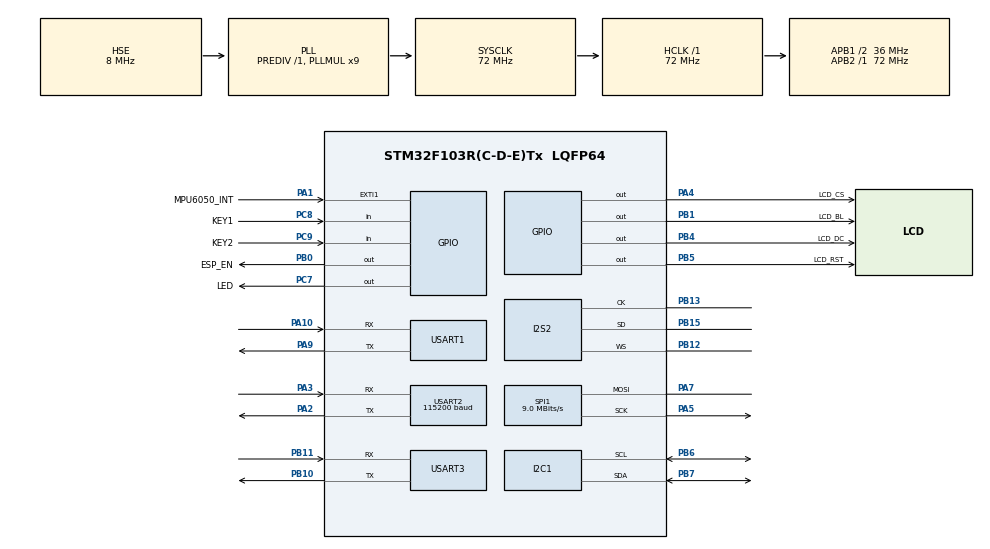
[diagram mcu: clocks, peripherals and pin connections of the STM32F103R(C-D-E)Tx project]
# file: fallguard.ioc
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Dma.Request0=SPI2_TX
Dma.Request1=SPI1_TX
Dma.SPI1_TX.1.Direction=DMA_MEMORY_TO_PERIPH
Dma.SPI1_TX.1.Instance=DMA1_Channel3
Dma.SPI1_TX.1.MemDataAlignment=DMA_MDATAALIGN_BYTE
Dma.SPI1_TX.1.MemInc=DMA_MINC_ENABLE
Dma.SPI1_TX.1.Mode=DMA_NORMAL
Dma.SPI1_TX.1.PeriphDataAlignment=DMA_PDATAALIGN_BYTE
Dma.SPI1_TX.1.PeriphInc=DMA_PINC_DISABLE
Dma.SPI1_TX.1.Priority=DMA_PRIORITY_HIGH
Dma.SPI2_TX.0.Direction=DMA_MEMORY_TO_PERIPH
Dma.SPI2_TX.0.Instance=DMA1_Channel5
Dma.SPI2_TX.0.MemDataAlignment=DMA_MDATAALIGN_HALFWORD
Dma.SPI2_TX.0.MemInc=DMA_MINC_ENABLE
Dma.SPI2_TX.0.Mode=DMA_CIRCULAR
Dma.SPI2_TX.0.PeriphDataAlignment=DMA_PDATAALIGN_HALFWORD
Dma.SPI2_TX.0.PeriphInc=DMA_PINC_DISABLE
Dma.SPI2_TX.0.Priority=DMA_PRIORITY_VERY_HIGH
I2C1.I2C_Mode=I2C_Fast
I2S2.AudioFreq=I2S_AUDIOFREQ_16K
I2S2.ErrorAudioFreq=-0.26 %
I2S2.Instance=SPI$Index
I2S2.RealAudioFreq=15.957 KHz
I2S2.VirtualMode=I2S_MODE_MASTER
Mcu.Family=STM32F1
Mcu.Name=STM32F103R(C-D-E)Tx
Mcu.Package=LQFP64
NVIC.DMA1_Channel3_IRQn=true\:2\:0\:true\:false\:true\:false\:true\:true
NVIC.DMA1_Channel5_IRQn=true\:1\:0\:true\:false\:true\:false\:true\:true
NVIC.EXTI1_IRQn=true\:3\:0\:true\:false\:true\:true\:true\:true
NVIC.I2C1_ER_IRQn=true\:0\:0\:false\:false\:true\:true\:true\:true
NVIC.I2C1_EV_IRQn=true\:0\:0\:false\:false\:true\:true\:true\:true
NVIC.PriorityGroup=NVIC_PRIORITYGROUP_4
NVIC.SPI1_IRQn=true\:2\:0\:true\:false\:true\:true\:true\:true
NVIC.USART1_IRQn=true\:6\:0\:true\:false\:true\:true\:true\:true
NVIC.USART2_IRQn=true\:1\:0\:true\:false\:true\:true\:true\:true
NVIC.USART3_IRQn=true\:1\:0\:true\:false\:true\:true\:true\:true
PA1.GPIO_Label=MPU6050_INT
PA1.GPIO_ModeDefaultEXTI=GPIO_MODE_IT_RISING
PA1.GPIO_PuPd=GPIO_PULLDOWN
PA1.Signal=GPXTI1
PA10.Mode=Asynchronous
PA10.Signal=USART1_RX
PA13.Mode=Serial_Wire
PA13.Signal=SYS_JTMS-SWDIO
PA14.Mode=Serial_Wire
PA14.Signal=SYS_JTCK-SWCLK
PA2.Mode=Asynchronous
PA2.Signal=USART2_TX
PA3.Mode=Asynchronous
PA3.Signal=USART2_RX
PA4.GPIO_Label=LCD_CS
PA4.GPIO_Speed=GPIO_SPEED_FREQ_HIGH
PA4.PinState=GPIO_PIN_SET
PA4.Signal=GPIO_Output
PA5.Mode=Simplex_Bidirectional_Master
PA5.Signal=SPI1_SCK
PA7.Mode=Simplex_Bidirectional_Master
PA7.Signal=SPI1_MOSI
PA9.Mode=Asynchronous
PA9.Signal=USART1_TX
PB0.GPIO_Label=ESP_EN
PB0.GPIO_Speed=GPIO_SPEED_FREQ_LOW
PB0.PinState=GPIO_PIN_SET
PB0.Signal=GPIO_Output
PB1.GPIO_Label=LCD_BL
PB1.GPIO_Speed=GPIO_SPEED_FREQ_HIGH
PB1.Signal=GPIO_Output
PB10.Mode=Asynchronous
PB10.Signal=USART3_TX
PB11.Mode=Asynchronous
PB11.Signal=USART3_RX
PB12.Mode=Half_Duplex_Master_TX
PB12.Signal=I2S2_WS
PB13.Mode=Half_Duplex_Master_TX
PB13.Signal=I2S2_CK
PB15.Mode=Half_Duplex_Master_TX
PB15.Signal=I2S2_SD
PB4.GPIO_Label=LCD_DC
PB4.GPIO_Speed=GPIO_SPEED_FREQ_HIGH
PB4.PinState=GPIO_PIN_SET
PB4.Signal=GPIO_Output
PB5.GPIO_Label=LCD_RST
PB5.GPIO_Speed=GPIO_SPEED_FREQ_HIGH
PB5.PinState=GPIO_PIN_SET
PB5.Signal=GPIO_Output
PB6.Mode=I2C
PB6.Signal=I2C1_SCL
PB7.Mode=I2C
PB7.Signal=I2C1_SDA
PC14-OSC32_IN.Mode=LSE-External-Oscillator
PC14-OSC32_IN.Signal=RCC_OSC32_IN
PC15-OSC32_OUT.Mode=LSE-External-Oscillator
PC15-OSC32_OUT.Signal=RCC_OSC32_OUT
PC7.GPIO_Label=LED
PC7.PinState=GPIO_PIN_SET
PC7.Signal=GPIO_Output
PC8.GPIO_Label=KEY1
PC8.GPIO_PuPd=GPIO_PULLUP
PC8.Signal=GPIO_Input
PC9.GPIO_Label=KEY2
PC9.GPIO_PuPd=GPIO_PULLUP
PC9.Signal=GPIO_Input
PD0-OSC_IN.Mode=HSE-External-Oscillator
PD0-OSC_IN.Signal=RCC_OSC_IN
PD1-OSC_OUT.Mode=HSE-External-Oscillator
PD1-OSC_OUT.Signal=RCC_OSC_OUT
ProjectManager.HeapSize=0x200
ProjectManager.StackSize=0x400
ProjectManager.TargetToolchain=CMake
RCC.AHBFreq_Value=72000000
RCC.APB1CLKDivider=RCC_HCLK_DIV2
RCC.APB1Freq_Value=36000000
RCC.APB1TimFreq_Value=72000000
RCC.APB2Freq_Value=72000000
RCC.APB2TimFreq_Value=72000000
RCC.HCLKFreq_Value=72000000
RCC.PLLMUL=RCC_PLL_MUL9
RCC.PLLSourceVirtual=RCC_PLLSOURCE_HSE
RCC.RTCClockSelection=RCC_RTCCLKSOURCE_LSE
RCC.SYSCLKFreq_VALUE=72000000
RCC.SYSCLKSource=RCC_SYSCLKSOURCE_PLLCLK
RCC.USBFreq_Value=72000000
SPI1.BaudRatePrescaler=SPI_BAUDRATEPRESCALER_8
SPI1.CLKPolarity=SPI_POLARITY_LOW
SPI1.CalculateBaudRate=9.0 MBits/s
SPI1.Direction=SPI_DIRECTION_1LINE
SPI1.Mode=SPI_MODE_MASTER
SPI1.VirtualType=VM_MASTER
TIM2.AutoReloadPreload=TIM_AUTORELOAD_PRELOAD_ENABLE
TIM2.Prescaler=71
USART1.VirtualMode=VM_ASYNC
USART2.BaudRate=115200
USART2.VirtualMode=VM_ASYNC
USART3.VirtualMode=VM_ASYNC
VP_RTC_No_RTC_Output.Mode=RTC_OUT_NO
VP_RTC_VS_RTC_Activate.Mode=RTC_Enabled
VP_RTC_VS_RTC_Calendar.Mode=RTC_Calendar
VP_TIM2_VS_ClockSourceINT.Mode=Internal
board=custom

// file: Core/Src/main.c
/* USER CODE BEGIN Header */
/**
 ******************************************************************************
 * @file           : main.c
 * @brief          : Main program body
 ******************************************************************************
 * @attention
 *
 * Copyright (c) 2026 STMicroelectronics.
 * All rights reserved.
 *
 * This software is licensed under terms that can be found in the LICENSE file
 * in the root directory of this software component.
 * If no LICENSE file comes with this software, it is provided AS-IS.
 *
 ******************************************************************************
 */
/* USER CODE END Header */
#include "main.h"
#include "dma.h"
#include "i2c.h"
#include "i2s.h"
#include "rtc.h"
#include "spi.h"
#include "tim.h"
#include "usart.h"
#include "gpio.h"

/* USER CODE BEGIN Includes */
#include "app_main.h"
#include "app_ui.h"
#include "bsp_esp.h"
#include "bsp_gps.h"
#include "bsp_log.h"
#include "bsp_mpu6050.h"
#include "bsp_rtc.h"
#include <errno.h>
#include <stdio.h>

/* USER CODE END Includes */

/* USER CODE BEGIN PV */
static uint8_t gps_rx_byte;
static volatile uint8_t gps_rx_retry;
static uint32_t gps_rx_retry_tick;
static uint8_t esp_rx_byte;
static volatile uint8_t esp_rx_retry;
static uint32_t esp_rx_retry_tick;

/* USER CODE END PV */

void SystemClock_Config(void);

/* USER CODE BEGIN 0 */
/* Keep the generated main clock tree, but reserve the optional LSE/RTC for the
 * recoverable RTC initializer. These adapters survive CubeMX regeneration. */
static HAL_StatusTypeDef boot_osc_config(RCC_OscInitTypeDef *oscillator) {
  oscillator->OscillatorType &= ~RCC_OSCILLATORTYPE_LSE;
  return HAL_RCC_OscConfig(oscillator);
}

static HAL_StatusTypeDef boot_periph_clock_config(RCC_PeriphCLKInitTypeDef *clock) {
  clock->PeriphClockSelection &= ~RCC_PERIPHCLK_RTC;
  return clock->PeriphClockSelection ? HAL_RCCEx_PeriphCLKConfig(clock) : HAL_OK;
}

#define HAL_RCC_OscConfig boot_osc_config
#define HAL_RCCEx_PeriphCLKConfig boot_periph_clock_config

/* Only used before application startup. IRQs remain enabled and log TX is serviced.
 * Bound the wait so a failed display never prevents the application from booting. */
static void boot_log_step(const char *message, app_ui_boot_level_t level) {
  uint32_t start = HAL_GetTick();
  app_ui_boot_log(message, level);
  do {
    app_ui_poll();
    BSP_LOG_Poll();
  } while ((uint32_t)(HAL_GetTick() - start) < APP_BOOT_DISPLAY_TIMEOUT_MS &&
           ((uint32_t)(HAL_GetTick() - start) < APP_BOOT_LOG_STEP_MS ||
            app_ui_frame_pending()));
}

static void gps_receive_start(void) {
  HAL_StatusTypeDef status = HAL_UART_Receive_IT(&huart2, &gps_rx_byte, 1U);

  gps_rx_retry =
      (status != HAL_OK) && (huart2.RxState != HAL_UART_STATE_BUSY_RX);
  if (gps_rx_retry != 0U)
    BSP_GPS_RxError(HAL_UART_GetError(&huart2) | 0x80000000UL);
}

static void esp_receive_start(void) {
  HAL_StatusTypeDef status = HAL_UART_Receive_IT(&huart3, &esp_rx_byte, 1U);

  esp_rx_retry =
      (status != HAL_OK) && (huart3.RxState != HAL_UART_STATE_BUSY_RX);
  if (esp_rx_retry != 0U)
    BSP_ESP_RxError(HAL_UART_GetError(&huart3) | 0x80000000UL);
}
/* USER CODE END 0 */

int main(void)
{

  /* MCU Configuration--------------------------------------------------------*/

  /* Reset of all peripherals, Initializes the Flash interface and the Systick. */
  HAL_Init();

  /* Configure the system clock */
  SystemClock_Config();

  /* USER CODE BEGIN SysInit */
  /* Order startup below so the boot log is visible before optional RTC startup.
   * Skip CubeMX's automatic call list without changing its generated functions. */
  goto boot_peripherals;
  /* USER CODE END SysInit */

  /* Initialize all configured peripherals */
  MX_GPIO_Init();
  MX_DMA_Init();
  MX_I2C1_Init();
  MX_RTC_Init();
  MX_TIM2_Init();
  MX_USART1_UART_Init();
  MX_USART2_UART_Init();
  MX_USART3_UART_Init();
  MX_I2S2_Init();
  MX_SPI1_Init();
  /* USER CODE BEGIN 2 */
boot_peripherals:
  MX_GPIO_Init();
  MX_DMA_Init();
  MX_SPI1_Init();
  MX_USART1_UART_Init();
  BSP_LOG_Init();
  setvbuf(stdout, NULL, _IONBF, 0);
  app_ui_init();
  boot_log_step("主时钟已就绪", APP_UI_BOOT_OK);
  boot_log_step("显示接口已就绪", APP_UI_BOOT_OK);
  boot_log_step("RTC 时钟启动中", APP_UI_BOOT_WAIT);
  MX_RTC_Init();
  boot_log_step(BSP_RTC_IsHardwareReady() ? "RTC 时钟已就绪" : "RTC 故障 继续启动",
                BSP_RTC_IsHardwareReady() ? APP_UI_BOOT_OK : APP_UI_BOOT_WARN);
  MX_I2C1_Init();
  boot_log_step("姿态总线已就绪", APP_UI_BOOT_OK);
  MX_TIM2_Init();
  boot_log_step("计时接口已就绪", APP_UI_BOOT_OK);
  MX_USART2_UART_Init();
  boot_log_step("定位串口已就绪", APP_UI_BOOT_OK);
  MX_USART3_UART_Init();
  boot_log_step("网络串口已就绪", APP_UI_BOOT_OK);
  MX_I2S2_Init();
  boot_log_step("音频接口已就绪", APP_UI_BOOT_OK);

  LOG_INFO(DEBUG_LOG_BOOT_ENABLE, LOG_TAG_BOOT, "fallguard\r\n");
  LOG_INFO(DEBUG_LOG_BOOT_ENABLE, LOG_TAG_BOOT,
           "HCLK=%lu Hz LSE_READY=%lu\r\n",
           (unsigned long)HAL_RCC_GetHCLKFreq(),
           (unsigned long)(__HAL_RCC_GET_FLAG(RCC_FLAG_LSERDY) != RESET));
  if (!BSP_RTC_IsHardwareReady())
    LOG_WARN(DEBUG_LOG_RTC_ENABLE, LOG_TAG_RTC,
             "LSE/RTC unavailable; time invalid, local functions continue\r\n");

  if (HAL_TIM_Base_Start(&htim2) != HAL_OK) {
    LOG_ERROR(DEBUG_LOG_TIM_ENABLE, LOG_TAG_TIM, "TIM2 start failed\r\n");
    Error_Handler();
  }

  LOG_INFO(DEBUG_LOG_BOOT_ENABLE, LOG_TAG_BOOT,
           "MPU PB6=SCL PB7=SDA PA1=INT @0x%02X; calibration=%u samples, "
           "keep STILL\r\n",
           (unsigned int)MPU6050_I2C_ADDRESS,
           (unsigned int)BSP_MPU6050_CALIBRATION_SAMPLES);
  app_init();
  gps_receive_start();
  gps_rx_retry_tick = HAL_GetTick();
  esp_receive_start();
  esp_rx_retry_tick = HAL_GetTick();
  app_ui_boot_hardware_done();
  LOG_INFO(DEBUG_LOG_BOOT_ENABLE, LOG_TAG_BOOT,
           "GPS TX->PA3, USART2 115200 8N1, stale=%lu ms\r\n",
           (unsigned long)GPS_STALE_MS);

  LOG_INFO(DEBUG_LOG_BOOT_ENABLE, LOG_TAG_BOOT,
           "TIM2 started; MQTT/RTC pages show network and time\r\n");
  LOG_INFO(DEBUG_LOG_BOOT_ENABLE, LOG_TAG_BOOT,
           "LCD ST7789 240x240 SPI1 9MHz PA5=SCK PA7=MOSI; init pending\r\n");
  LOG_INFO(DEBUG_LOG_BOOT_ENABLE, LOG_TAG_BOOT,
           "KEY K1=LCD page; K2=test alarm; debounce=%lu ms\r\n",
           (unsigned long)KEY_DEBOUNCE_MS);
  /* USER CODE END 2 */

  /* Infinite loop */
  while (1) {

    /* USER CODE BEGIN 3 */
    if ((gps_rx_retry != 0U) &&
        ((uint32_t)(HAL_GetTick() - gps_rx_retry_tick) >=
         APP_UART_RX_RETRY_MS)) {
      gps_rx_retry_tick = HAL_GetTick();
      gps_receive_start();
    }
    if ((esp_rx_retry != 0U) &&
        ((uint32_t)(HAL_GetTick() - esp_rx_retry_tick) >=
         APP_UART_RX_RETRY_MS)) {
      esp_rx_retry_tick = HAL_GetTick();
      esp_receive_start();
    }
    app_run();
    BSP_LOG_Poll();
  }
  /* USER CODE END 3 */
}

void SystemClock_Config(void)
{
  RCC_OscInitTypeDef RCC_OscInitStruct = {0};
  RCC_ClkInitTypeDef RCC_ClkInitStruct = {0};
  RCC_PeriphCLKInitTypeDef PeriphClkInit = {0};

  /** Initializes the RCC Oscillators according to the specified parameters
  * in the RCC_OscInitTypeDef structure.
  */
  RCC_OscInitStruct.OscillatorType = RCC_OSCILLATORTYPE_HSE|RCC_OSCILLATORTYPE_LSE;
  RCC_OscInitStruct.HSEState = RCC_HSE_ON;
  RCC_OscInitStruct.HSEPredivValue = RCC_HSE_PREDIV_DIV1;
  RCC_OscInitStruct.LSEState = RCC_LSE_ON;
  RCC_OscInitStruct.HSIState = RCC_HSI_ON;
  RCC_OscInitStruct.PLL.PLLState = RCC_PLL_ON;
  RCC_OscInitStruct.PLL.PLLSource = RCC_PLLSOURCE_HSE;
  RCC_OscInitStruct.PLL.PLLMUL = RCC_PLL_MUL9;
  if (HAL_RCC_OscConfig(&RCC_OscInitStruct) != HAL_OK)
  {
    Error_Handler();
  }

  /** Initializes the CPU, AHB and APB buses clocks
  */
  RCC_ClkInitStruct.ClockType = RCC_CLOCKTYPE_HCLK|RCC_CLOCKTYPE_SYSCLK
                              |RCC_CLOCKTYPE_PCLK1|RCC_CLOCKTYPE_PCLK2;
  RCC_ClkInitStruct.SYSCLKSource = RCC_SYSCLKSOURCE_PLLCLK;
  RCC_ClkInitStruct.AHBCLKDivider = RCC_SYSCLK_DIV1;
  RCC_ClkInitStruct.APB1CLKDivider = RCC_HCLK_DIV2;
  RCC_ClkInitStruct.APB2CLKDivider = RCC_HCLK_DIV1;

  if (HAL_RCC_ClockConfig(&RCC_ClkInitStruct, FLASH_LATENCY_2) != HAL_OK)
  {
    Error_Handler();
  }
  PeriphClkInit.PeriphClockSelection = RCC_PERIPHCLK_RTC|RCC_PERIPHCLK_I2S2;
  PeriphClkInit.RTCClockSelection = RCC_RTCCLKSOURCE_LSE;
  PeriphClkInit.I2s2ClockSelection = RCC_I2S2CLKSOURCE_SYSCLK;
  if (HAL_RCCEx_PeriphCLKConfig(&PeriphClkInit) != HAL_OK)
  {
    Error_Handler();
  }
}

/* USER CODE BEGIN 4 */
void HAL_GPIO_EXTI_Callback(uint16_t GPIO_Pin) {
  if (GPIO_Pin == MPU6050_INT_Pin)
    BSP_MPU6050_DataReadyIRQ();
}

void HAL_I2C_MemRxCpltCallback(I2C_HandleTypeDef *hi2c) {
  if (hi2c == &hi2c1)
    BSP_MPU6050_ReadCompleteIRQ();
}

void HAL_I2C_ErrorCallback(I2C_HandleTypeDef *hi2c) {
  if (hi2c == &hi2c1)
    BSP_MPU6050_ReadErrorIRQ(HAL_I2C_GetError(hi2c));
}

void HAL_UART_RxCpltCallback(UART_HandleTypeDef *huart) {
  if (huart == &huart2) {
    /* Rearming clears ErrorCode before HAL can finish handling an overrun. */
    if (HAL_UART_GetError(huart) == HAL_UART_ERROR_NONE) {
      BSP_GPS_RxByte(gps_rx_byte);
      gps_receive_start();
    }
  } else if (huart == &huart3) {
    if (HAL_UART_GetError(huart) == HAL_UART_ERROR_NONE) {
      BSP_ESP_RxByte(esp_rx_byte);
      esp_receive_start();
    }
  }
}

void HAL_UART_ErrorCallback(UART_HandleTypeDef *huart) {
  if (huart == &huart1) {
    BSP_LOG_TxError();
  } else if (huart == &huart2) {
    BSP_GPS_RxError(HAL_UART_GetError(huart));
    if (huart->RxState == HAL_UART_STATE_READY)
      gps_receive_start();
  } else if (huart == &huart3) {
    BSP_ESP_RxError(HAL_UART_GetError(huart));
    if (huart->RxState == HAL_UART_STATE_READY)
      esp_receive_start();
  }
}

void HAL_UART_TxCpltCallback(UART_HandleTypeDef *huart) {
  if (huart == &huart1)
    BSP_LOG_TxComplete();
}

int _write(int file, char *ptr, int len) {
  (void)file;

  if (len == 0) {
    return 0;
  }
  if ((ptr == NULL) || (len < 0) || (len > UINT16_MAX)) {
    errno = EINVAL;
    return -1;
  }

  /* A full log buffer drops excess output without blocking or poisoning stdout.
   */
  BSP_LOG_Write(ptr, (uint16_t)len);
  return len;
}
/* USER CODE END 4 */

void Error_Handler(void)
{
  __disable_irq();
  while (1) {
  }
}
#ifdef USE_FULL_ASSERT
/**
  * @brief  Reports the name of the source file and the source line number
  *         where the assert_param error has occurred.
  * @param  file: pointer to the source file name
  * @param  line: assert_param error line source number
  * @retval None
  */
void assert_failed(uint8_t *file, uint32_t line)
{
  /* USER CODE BEGIN 6 */
  /* User can add his own implementation to report the file name and line
     number, ex: printf("Wrong parameters value: file %s on line %d\r\n", file,
     line) */
  /* USER CODE END 6 */
}
#endif /* USE_FULL_ASSERT */
